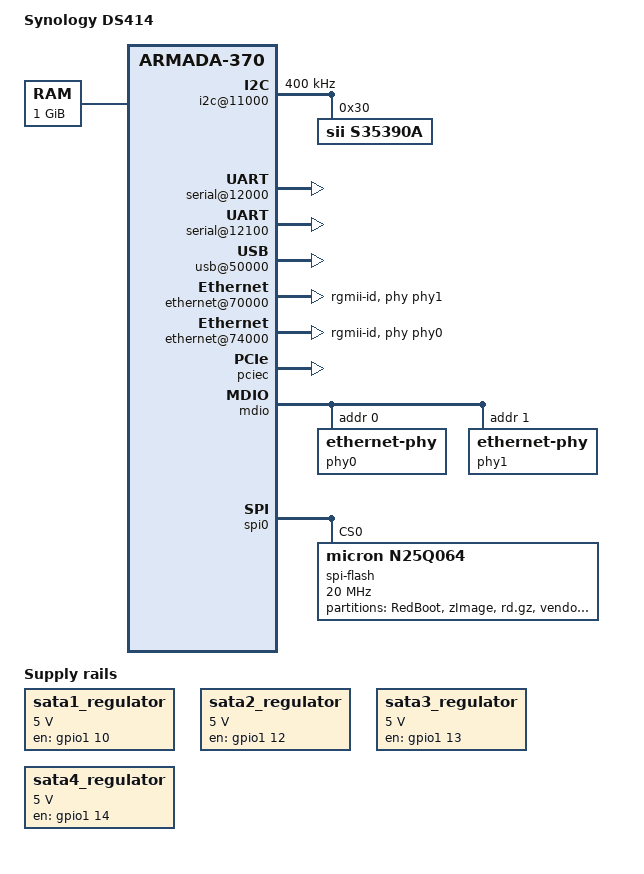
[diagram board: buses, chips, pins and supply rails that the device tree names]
/*
 * Device Tree file for Synology DS414
 *
 * Copyright (C) 2014, Arnaud EBALARD <arno@natisbad.org>
 *
 * This file is dual-licensed: you can use it either under the terms
 * of the GPL or the X11 license, at your option. Note that this dual
 * licensing only applies to this file, and not this project as a
 * whole.
 *
 *  a) This file is free software; you can redistribute it and/or
 *     modify it under the terms of the GNU General Public License as
 *     published by the Free Software Foundation; either version 2 of the
 *     License, or (at your option) any later version.
 *
 *     This file is distributed in the hope that it will be useful
 *     but WITHOUT ANY WARRANTY; without even the implied warranty of
 *     MERCHANTABILITY or FITNESS FOR A PARTICULAR PURPOSE.  See the
 *     GNU General Public License for more details.
 *
 * Or, alternatively
 *
 *  b) Permission is hereby granted, free of charge, to any person
 *     obtaining a copy of this software and associated documentation
 *     files (the "Software"), to deal in the Software without
 *     restriction, including without limitation the rights to use
 *     copy, modify, merge, publish, distribute, sublicense, and/or
 *     sell copies of the Software, and to permit persons to whom the
 *     Software is furnished to do so, subject to the following
 *     conditions:
 *
 *     The above copyright notice and this permission notice shall be
 *     included in all copies or substantial portions of the Software.
 *
 *     THE SOFTWARE IS PROVIDED , WITHOUT WARRANTY OF ANY KIND
 *     EXPRESS OR IMPLIED, INCLUDING BUT NOT LIMITED TO THE WARRANTIES
 *     OF MERCHANTABILITY, FITNESS FOR A PARTICULAR PURPOSE AND
 *     NONINFRINGEMENT. IN NO EVENT SHALL THE AUTHORS OR COPYRIGHT
 *     HOLDERS BE LIABLE FOR ANY CLAIM, DAMAGES OR OTHER LIABILITY
 *     WHETHER IN AN ACTION OF CONTRACT, TORT OR OTHERWISE, ARISING
 *     FROM, OUT OF OR IN CONNECTION WITH THE SOFTWARE OR THE USE OR
 *     OTHER DEALINGS IN THE SOFTWARE.
 *
 * Note: this Device Tree assumes that the bootloader has remapped the
 * internal registers to 0xf1000000 (instead of the old 0xd0000000).
 * The 0xf1000000 is the default used by the recent, DT-capable, U-Boot
 * bootloaders provided by Marvell. It is used in recent versions of
 * DSM software provided by Synology. Nonetheless, some earlier boards
 * were delivered with an older version of u-boot that left internal
 * registers mapped at 0xd0000000. If you have such a device you will
 * not be able to directly boot a kernel based on this Device Tree. In
 * that case, the preferred solution is to update your bootloader (e.g.
 * by upgrading to latest version of DSM, or building a new one and
 * installing it from u-boot prompt) or adjust the Devive Tree
 * (s/0xf1000000/0xd0000000/ in 'ranges' below).
 */

/dts-v1/;

#include <dt-bindings/input/input.h>
#include <dt-bindings/gpio/gpio.h>
#include "armada-xp-mv78230.dtsi"

/ {
	model = "Synology DS414";
	compatible = "synology,ds414", "marvell,armadaxp-mv78230",
		     "marvell,armadaxp", "marvell,armada-370-xp";

	chosen {
		stdout-path = "serial0:115200n8";
	};

	memory@0 {
		device_type = "memory";
		reg = <0 0x00000000 0 0x40000000>; /* 1GB */
	};

	soc {
		ranges = <MBUS_ID(0xf0, 0x01) 0 0 0xf1000000 0x100000
			  MBUS_ID(0x01, 0x1d) 0 0 0xfff00000 0x100000
			  MBUS_ID(0x09, 0x09) 0 0 0xf1100000 0x10000
			  MBUS_ID(0x09, 0x05) 0 0 0xf1110000 0x10000>;

		internal-regs {

			/* RTC is provided by Seiko S-35390A below */
			rtc@10300 {
				status = "disabled";
			};

			i2c@11000 {
				clock-frequency = <400000>;
				status = "okay";

				s35390a: s35390a@30 {
					 compatible = "sii,s35390a";
					 reg = <0x30>;
				};
			};

			/* Connected to a header on device's PCB. This
			 * provides the main console for the device.
			 *
			 * Warning: the device may not boot with a 3.3V
			 * USB-serial converter connected when the power
			 * button is pressed. The converter needs to be
			 * connected a few seconds after pressing the
			 * power button. This is possibly due to UART0_TXD
			 * pin being sampled at reset (bit 0 of SAR).
			 */
			serial@12000 {
				status = "okay";
			};

			/* Connected to a Microchip PIC16F883 for power control */
			serial@12100 {
				status = "okay";
			};

			poweroff@12100 {
				compatible = "synology,power-off";
				reg = <0x12100 0x100>;
				clocks = <&coreclk 0>;
			};

			/* Front USB 2.0 port */
			usb@50000 {
				status = "okay";
			};

			ethernet@70000 {
				status = "okay";
				pinctrl-0 = <&ge0_rgmii_pins>;
				pinctrl-names = "default";
				phy = <&phy1>;
				phy-mode = "rgmii-id";
			};

			ethernet@74000 {
				pinctrl-0 = <&ge1_rgmii_pins>;
				pinctrl-names = "default";
				status = "okay";
				phy = <&phy0>;
				phy-mode = "rgmii-id";
			};
		};
	};

	regulators {
		compatible = "simple-bus";
		#address-cells = <1>;
		#size-cells = <0>;
		pinctrl-0 = <&sata1_pwr_pin &sata2_pwr_pin
			     &sata3_pwr_pin &sata4_pwr_pin>;
		pinctrl-names = "default";

		sata1_regulator: sata1-regulator@1 {
			compatible = "regulator-fixed";
			reg = <1>;
			regulator-name = "SATA1 Power";
			regulator-min-microvolt = <5000000>;
			regulator-max-microvolt = <5000000>;
			startup-delay-us = <2000000>;
			enable-active-high;
			regulator-always-on;
			regulator-boot-on;
			gpio = <&gpio1 10 GPIO_ACTIVE_HIGH>;
		};

		sata2_regulator: sata2-regulator@2 {
			compatible = "regulator-fixed";
			reg = <2>;
			regulator-name = "SATA2 Power";
			regulator-min-microvolt = <5000000>;
			regulator-max-microvolt = <5000000>;
			startup-delay-us = <4000000>;
			enable-active-high;
			regulator-always-on;
			regulator-boot-on;
			gpio = <&gpio1 12 GPIO_ACTIVE_HIGH>;
		};

		sata3_regulator: sata3-regulator@3 {
			compatible = "regulator-fixed";
			reg = <3>;
			regulator-name = "SATA3 Power";
			regulator-min-microvolt = <5000000>;
			regulator-max-microvolt = <5000000>;
			startup-delay-us = <6000000>;
			enable-active-high;
			regulator-always-on;
			regulator-boot-on;
			gpio = <&gpio1 13 GPIO_ACTIVE_HIGH>;
		};

		sata4_regulator: sata4-regulator@4 {
			compatible = "regulator-fixed";
			reg = <4>;
			regulator-name = "SATA4 Power";
			regulator-min-microvolt = <5000000>;
			regulator-max-microvolt = <5000000>;
			startup-delay-us = <8000000>;
			enable-active-high;
			regulator-always-on;
			regulator-boot-on;
			gpio = <&gpio1 14 GPIO_ACTIVE_HIGH>;
		};
	};
};

&pciec {
	status = "okay";

	/*
	 * Connected to Marvell 88SX7042 SATA-II controller
	 * handling the four disks.
	 */
	pcie@1,0 {
		/* Port 0, Lane 0 */
		status = "okay";
	};

	/*
	 * Connected to EtronTech EJ168A XHCI controller
	 * providing the two rear USB 3.0 ports.
	 */
	pcie@5,0 {
		/* Port 1, Lane 0 */
		status = "okay";
	};
};


&mdio {
	phy0: ethernet-phy@0 { /* Marvell 88E1512 */
		reg = <0>;
	};

	phy1: ethernet-phy@1 { /* Marvell 88E1512 */
		reg = <1>;
	};
};

&pinctrl {
	sata1_pwr_pin: sata1-pwr-pin {
		marvell,pins = "mpp42";
		marvell,function = "gpio";
	};

	sata2_pwr_pin: sata2-pwr-pin {
		marvell,pins = "mpp44";
		marvell,function = "gpio";
	};

	sata3_pwr_pin: sata3-pwr-pin {
		marvell,pins = "mpp45";
		marvell,function = "gpio";
	};

	sata4_pwr_pin: sata4-pwr-pin {
		marvell,pins = "mpp46";
		marvell,function = "gpio";
	};

	sata1_pres_pin: sata1-pres-pin {
		marvell,pins = "mpp34";
		marvell,function = "gpio";
	};

	sata2_pres_pin: sata2-pres-pin {
		marvell,pins = "mpp35";
		marvell,function = "gpio";
	};

	sata3_pres_pin: sata3-pres-pin {
		marvell,pins = "mpp40";
		marvell,function = "gpio";
	};

	sata4_pres_pin: sata4-pres-pin {
		marvell,pins = "mpp41";
		marvell,function = "gpio";
	};

	syno_id_bit0_pin: syno-id-bit0-pin {
		marvell,pins = "mpp26";
		marvell,function = "gpio";
	};

	syno_id_bit1_pin: syno-id-bit1-pin {
		marvell,pins = "mpp28";
		marvell,function = "gpio";
	};

	syno_id_bit2_pin: syno-id-bit2-pin {
		marvell,pins = "mpp29";
		marvell,function = "gpio";
	};

	fan1_alarm_pin: fan1-alarm-pin {
		marvell,pins = "mpp33";
		marvell,function = "gpio";
	};

	fan2_alarm_pin: fan2-alarm-pin {
		marvell,pins = "mpp32";
		marvell,function = "gpio";
	};
};

&spi0 {
	status = "okay";

	spi-flash@0 {
		#address-cells = <1>;
		#size-cells = <1>;
		compatible = "micron,n25q064", "jedec,spi-nor";
		reg = <0>; /* Chip select 0 */
		spi-max-frequency = <20000000>;

		/*
		 * Warning!
		 *
		 * Synology u-boot uses its compiled-in environment
		 * and it seems Synology did not care to change u-boot
		 * default configuration in order to allow saving a
		 * modified environment at a sensible location. So,
		 * if you do a 'saveenv' under u-boot, your modified
		 * environment will be saved at 1MB after the start
		 * of the flash, i.e. in the middle of the uImage.
		 * For that reason, it is strongly advised not to
		 * change the default environment, unless you know
		 * what you are doing.
		 */
		partition@00000000 { /* u-boot */
			label = "RedBoot";
			reg = <0x00000000 0x000d0000>; /* 832KB */
		};

		partition@000c0000 { /* uImage */
			label = "zImage";
			reg = <0x000d0000 0x002d0000>; /* 2880KB */
		};

		partition@003a0000 { /* uInitramfs */
			label = "rd.gz";
			reg = <0x003a0000 0x00430000>; /* 4250KB */
		};

		partition@007d0000 { /* MAC address and serial number */
			label = "vendor";
			reg = <0x007d0000 0x00010000>; /* 64KB */
		};

		partition@007e0000 {
			label = "RedBoot config";
			reg = <0x007e0000 0x00010000>; /* 64KB */
		};

		partition@007f0000 {
			label = "FIS directory";
			reg = <0x007f0000 0x00010000>; /* 64KB */
		};
	};
};
